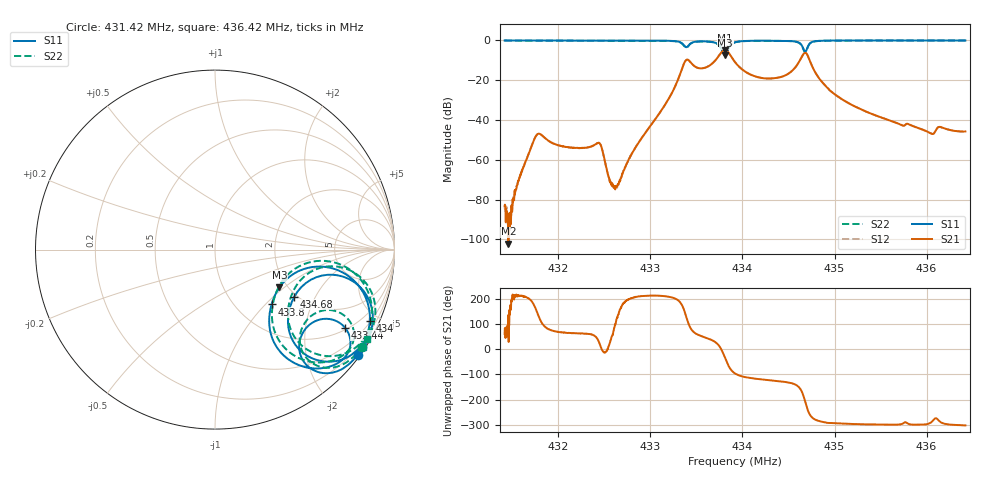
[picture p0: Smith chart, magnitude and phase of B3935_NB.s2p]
! Matrix data file written by TouchstoneData, EPCOS AG
! FILENAME: "B3935_NB.s2p"
! COMMENT: "(LY10A_14_NB.s2p) EPCOS AG 09.04.2010 16:40:"
! INFO: nport=2, nfreq=1601
! DATE: "Fri Apr  9 17:13:58 2010"
! USER: "Aleksander Breg"
! port | pin | signal
!  1  |  1  |  IN
!  2  |  4  |  OUT
# MHZ S MA R 50
! freq  magS11 angS11  magS21 angS21  magS12 angS12  magS22 angS22
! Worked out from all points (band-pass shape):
!   1601 points, 431.42 MHz to 436.42 MHz, reference 50 ohm
!   highest |S21| = -4.91 dB at 433.81 MHz (marker M1); lowest = -102.3 dB at 431.46 MHz (marker M2)
!   |S21| within 3 dB of the highest: 433.7432 MHz to 433.8745 MHz (131.3 kHz wide, 0.0303 % of centre); 434.6481 MHz to 434.7108 MHz (62.73 kHz wide, 0.0144 % of centre)
!   lowest |S11| = -7.6 dB at 433.81 MHz (marker M3), VSWR 2.43, Z = 90.9 - j46.2 ohm
!   |S11| at or under -10 dB: nowhere
!   |S22| runs from -7.7 to -0.1 dB; largest |S21 - S12| = 0.0027
!   S11 on the Smith chart (normalised r, x): 431.42 MHz: 0.06, -3.04; 433.44 MHz: 1.08, -3.28; 433.8 MHz: 1.44, -1.09; 434 MHz: 0.57, -4.52; 434.68 MHz: 1.94, -1.38; 436.42 MHz: 0.07, -3.33
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431.42  0.9885 -36.4  6.93e-05 61.9  6.751e-05 63.9  0.9821 -33.6
431.4606  0.9885 -36.4  7.717e-06 137.2  2.466e-05 54.3  0.982 -33.7
431.7763  0.9838 -36.7  0.004378 144.0  0.004381 143.9  0.9777 -34.0
432.2544  0.9877 -37.3  0.001976 63.5  0.001969 62.9  0.981 -34.6
432.4513  0.9857 -37.7  0.002573 21.8  0.002586 21.7  0.9787 -35.1
432.5606  0.9865 -37.9  0.0002809 24.9  0.0002856 23.2  0.9797 -35.2
432.6263  0.9865 -38.1  0.0002124 105.1  0.0002002 109.9  0.9797 -35.5
433.0888  0.9802 -41.1  0.01349 -146.4  0.01349 -146.4  0.9733 -38.6
433.3763  0.7013 -47.9  0.2896 146.8  0.2903 146.8  0.6774 -45.8
433.4419  0.845 -31.0  0.273 81.9  0.2728 81.7  0.831 -27.5
433.7106  0.8568 -50.6  0.3207 27.6  0.3205 27.4  0.8495 -47.8
433.8013  0.4389 -44.1  0.558 -23.8  0.5584 -23.8  0.4328 -41.0
433.8138  0.4163 -30.3  0.568 -34.6  0.5689 -34.7  0.4118 -27.1
433.92  0.8905 -18.4  0.2832 -95.8  0.2836 -95.9  0.8849 -15.5
433.995  0.949 -24.6  0.1875 -107.5  0.1876 -107.6  0.9429 -21.8
434.4075  0.9717 -34.9  0.1177 -127.4  0.1177 -127.6  0.9648 -32.2
434.6169  0.8636 -46.1  0.2935 -151.9  0.2926 -152.0  0.8533 -44.0
434.6825  0.5138 -30.6  0.4809 151.4  0.4829 151.3  0.4934 -27.5
434.7544  0.9018 -18.0  0.23 89.6  0.2297 89.4  0.894 -14.5
435.0231  0.9859 -29.3  0.04056 65.5  0.0406 65.3  0.9794 -26.3
435.5888  0.9892 -32.2  0.009867 60.2  0.009859 60.1  0.9825 -29.3
436.42  0.9893 -33.4  0.005119 57.0  0.005119 56.8  0.9829 -30.6
